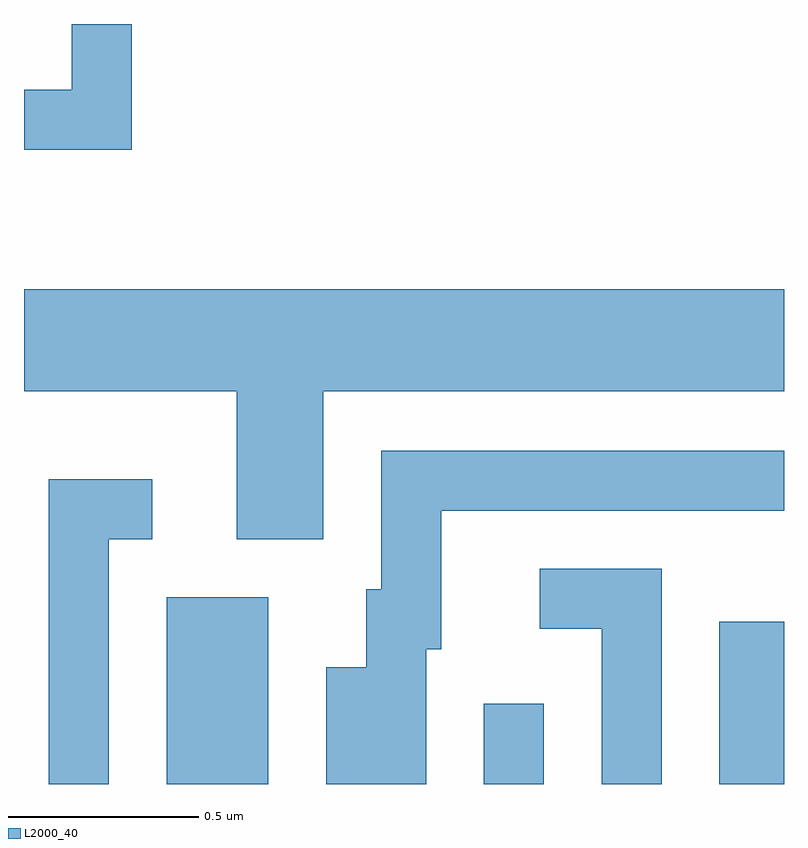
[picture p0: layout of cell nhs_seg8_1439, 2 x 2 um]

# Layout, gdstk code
import gdstk
lib = gdstk.Library(unit=1e-6, precision=1e-09)
def R(c, l, rs):  # rectangles x0, y0, x1, y1
    for r in rs: c.add(gdstk.rectangle(r[:2], r[2:], *l))
def P(c, l, *ps):  # polygons
    for p in ps: c.add(gdstk.Polygon(p, *l))
L2000_40 = (2000, 40)

nhs_seg8_1439 = lib.new_cell('nhs_seg8_1439')
R(nhs_seg8_1439, L2000_40, [(195.986,1875.342,196.254,1875.834), (196.821,1875.342,196.979,1875.553), (197.441,1875.342,197.611,1875.769)])
P(nhs_seg8_1439, L2000_40, [(195.894,1877.342),(195.736,1877.342),(195.736,1877.169),(195.611,1877.169),(195.611,1877.011),(195.894,1877.011)],
  [(196.399,1876.376),(197.611,1876.376),(197.611,1876.644),(195.611,1876.644),(195.611,1876.376),(196.171,1876.376),(196.171,1875.986),(196.399,1875.986)],
  [(196.669,1875.696),(196.709,1875.696),(196.709,1876.061),(197.611,1876.061),(197.611,1876.219),(196.551,1876.219),(196.551,1875.854),(196.511,1875.854),(196.511,1875.649),(196.406,1875.649),(196.406,1875.342),(196.669,1875.342)],
  [(195.834,1875.986),(195.948,1875.986),(195.948,1876.144),(195.676,1876.144),(195.676,1875.342),(195.834,1875.342)],
  [(197.289,1875.909),(196.968,1875.909),(196.968,1875.751),(197.131,1875.751),(197.131,1875.342),(197.289,1875.342)])

lib.write_gds('nhs_seg8_1439.gds')
